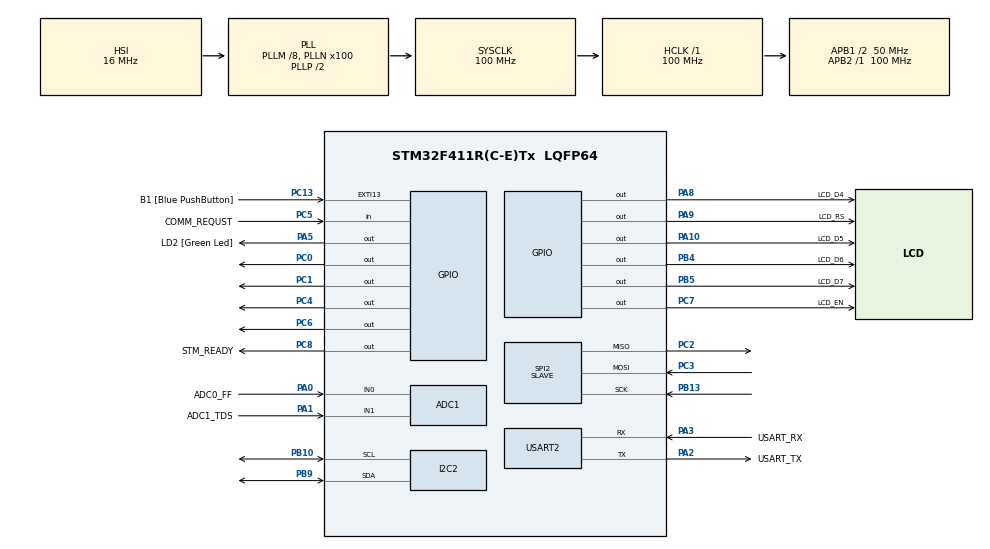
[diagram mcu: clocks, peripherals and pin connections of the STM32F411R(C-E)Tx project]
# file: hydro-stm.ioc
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ADC1.Channel-0\#ChannelRegularConversion=ADC_CHANNEL_0
ADC1.NbrOfConversionFlag=1
ADC1.Rank-0\#ChannelRegularConversion=1
ADC1.SamplingTime-0\#ChannelRegularConversion=ADC_SAMPLETIME_3CYCLES
ADC1.master=1
Mcu.Family=STM32F4
Mcu.Name=STM32F411R(C-E)Tx
Mcu.Package=LQFP64
NVIC.PriorityGroup=NVIC_PRIORITYGROUP_0
PA0-WKUP.GPIO_Label=ADC0_FF
PA0-WKUP.Signal=ADCx_IN0
PA1.GPIO_Label=ADC1_TDS
PA1.Signal=ADCx_IN1
PA10.GPIO_Label=LCD_D5
PA10.Signal=GPIO_Output
PA13.GPIO_Label=TMS
PA13.Mode=Serial_Wire
PA13.Signal=SYS_JTMS-SWDIO
PA14.GPIO_Label=TCK
PA14.Mode=Serial_Wire
PA14.Signal=SYS_JTCK-SWCLK
PA2.GPIO_Label=USART_TX
PA2.Mode=Asynchronous
PA2.Signal=USART2_TX
PA3.GPIO_Label=USART_RX
PA3.Mode=Asynchronous
PA3.Signal=USART2_RX
PA5.GPIO_Label=LD2 [Green Led]
PA5.Signal=GPIO_Output
PA8.GPIO_Label=LCD_D4
PA8.Signal=GPIO_Output
PA9.GPIO_Label=LCD_RS
PA9.Signal=GPIO_Output
PB10.Mode=I2C
PB10.Signal=I2C2_SCL
PB13.Mode=Full_Duplex_Slave
PB13.Signal=SPI2_SCK
PB3.GPIO_Label=SWO
PB3.Signal=SYS_JTDO-SWO
PB4.GPIO_Label=LCD_D6
PB4.Signal=GPIO_Output
PB5.GPIO_Label=LCD_D7
PB5.Signal=GPIO_Output
PB6.Signal=I2C1_SCL
PB9.Mode=I2C
PB9.Signal=I2C2_SDA
PC0.Signal=GPIO_Output
PC1.Signal=GPIO_Output
PC13-ANTI_TAMP.GPIO_Label=B1 [Blue PushButton]
PC13-ANTI_TAMP.GPIO_ModeDefaultEXTI=GPIO_MODE_IT_FALLING
PC13-ANTI_TAMP.Signal=GPXTI13
PC14-OSC32_IN.Mode=LSE-External-Oscillator
PC14-OSC32_IN.Signal=RCC_OSC32_IN
PC15-OSC32_OUT.Mode=LSE-External-Oscillator
PC15-OSC32_OUT.Signal=RCC_OSC32_OUT
PC2.Mode=Full_Duplex_Slave
PC2.Signal=SPI2_MISO
PC3.Mode=Full_Duplex_Slave
PC3.Signal=SPI2_MOSI
PC4.Signal=GPIO_Output
PC5.GPIO_Label=COMM_REQUST
PC5.Signal=GPIO_Input
PC6.Signal=GPIO_Output
PC7.GPIO_Label=LCD_EN
PC7.Signal=GPIO_Output
PC8.GPIO_Label=STM_READY
PC8.Signal=GPIO_Output
PH0\ -\ OSC_IN.Mode=HSE-External-Clock-Source
PH0\ -\ OSC_IN.Signal=RCC_OSC_IN
PH1\ -\ OSC_OUT.Mode=HSE-External-Clock-Source
PH1\ -\ OSC_OUT.Signal=RCC_OSC_OUT
ProjectManager.HeapSize=0x200
ProjectManager.StackSize=0x400
ProjectManager.TargetToolchain=STM32CubeIDE
RCC.48MHZClocksFreq_Value=50000000
RCC.AHBFreq_Value=100000000
RCC.APB1CLKDivider=RCC_HCLK_DIV2
RCC.APB1Freq_Value=50000000
RCC.APB1TimFreq_Value=100000000
RCC.APB2Freq_Value=100000000
RCC.APB2TimFreq_Value=100000000
RCC.CortexFreq_Value=100000000
RCC.FLatency-AdvancedSettings=FLASH_LATENCY_3
RCC.HCLKFreq_Value=100000000
RCC.HSE_VALUE=8000000
RCC.HSI_VALUE=16000000
RCC.PLLM=8
RCC.PLLN=100
RCC.SYSCLKFreq_VALUE=100000000
RCC.SYSCLKSource=RCC_SYSCLKSOURCE_PLLCLK
RCC.VCOOutputFreq_Value=200000000
SH.ADCx_IN0.0=ADC1_IN0,IN0
SH.ADCx_IN1.0=ADC1_IN1,IN1
SPI2.DataSize=SPI_DATASIZE_8BIT
SPI2.Direction=SPI_DIRECTION_2LINES
SPI2.Mode=SPI_MODE_SLAVE
SPI2.VirtualType=VM_SLAVE
USART2.VirtualMode=VM_ASYNC
board=NUCLEO-F411RE

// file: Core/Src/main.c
/* USER CODE BEGIN Header */
/**
  ******************************************************************************
  * @file           : main.c
  * @brief          : Main program body
  ******************************************************************************
  * @attention
  *
  * Copyright (c) 2025 STMicroelectronics.
  * All rights reserved.
  *
  * This software is licensed under terms that can be found in the LICENSE file
  * in the root directory of this software component.
  * If no LICENSE file comes with this software, it is provided AS-IS.
  *
  ******************************************************************************
  */
/* USER CODE END Header */
#include "main.h"

/* USER CODE BEGIN Includes */
#include "scheduler.h"
#include "sensor_manager.h"
#include "comm_manager.h"
#include "LCD.h"

//Sensors
#include "bmp180.h"
#include "mq135.h"
#include "tds.h"
#include "aht10.h"
/* USER CODE END Includes */

ADC_HandleTypeDef hadc1;

I2C_HandleTypeDef hi2c2;

SPI_HandleTypeDef hspi2;

UART_HandleTypeDef huart2;

/* USER CODE BEGIN PV */
uint8_t txBuff[23] = {0xAA, 0xBB, 0xCC, 0xDD, 0x11, 0x22};
uint8_t rxBuff[23] = {0};
const uint32_t SPI_TIMEOUT = 30;
/* USER CODE END PV */

void SystemClock_Config(void);
static void MX_GPIO_Init(void);
static void MX_USART2_UART_Init(void);
static void MX_I2C2_Init(void);
static void MX_SPI2_Init(void);
static void MX_ADC1_Init(void);

/* USER CODE BEGIN 0 */
//Sensor wiring
void BMP_Init(I2C_HandleTypeDef *i2c_loc){
  BMP180_Init(i2c_loc);
  BMP180_SetOversampling(BMP180_STANDARD);
  BMP180_UpdateCalibrationData();
}

void CheckForI2CDevices(void){			// !! Currently not being used
  printf("Scanning I2C bus...\r\n");
  for (uint8_t addr = 1; addr < 128; addr++) {
    if (HAL_I2C_IsDeviceReady(&hi2c2, addr << 1, 2, 10) == HAL_OK) {
      printf("  Found device at 0x%02X\r\n", addr);
    }
  }
}

void AllSensor_Init(void){
  BMP_Init(&hi2c2);
  MQ135_Init(&hadc1);
  TDS_Init(&hadc1);
  AHT10_Init(&hi2c2);
}

void InitializeSPI(void){
  Comm_PassRxBufferPtr(rxBuff);
  Comm_UpdateSPISnapshot();
  const SystemSnapshot_t *snap = &snapActive;
  memcpy(txBuff, snap, sizeof(SystemSnapshot_t));
  HAL_GPIO_WritePin(GPIOC, GPIO_PIN_8, GPIO_PIN_SET);
  HAL_SPI_TransmitReceive(&hspi2, txBuff, rxBuff, SPI_DATA_LENGTH, SPI_TIMEOUT);
  HAL_GPIO_WritePin(GPIOC, GPIO_PIN_8, GPIO_PIN_RESET);
  if(Comm_HandleSPIData() == 0){	// Probably CRC is not correct
	  HAL_SPI_DeInit(&hspi2);
	  HAL_SPI_Init(&hspi2);
  }
}
/* USER CODE END 0 */

int main(void)
{

  /* MCU Configuration--------------------------------------------------------*/

  /* Reset of all peripherals, Initializes the Flash interface and the Systick. */
  HAL_Init();

  /* Configure the system clock */
  SystemClock_Config();

  /* Initialize all configured peripherals */
  MX_GPIO_Init();
  MX_USART2_UART_Init();
  MX_I2C2_Init();
  MX_SPI2_Init();
  MX_ADC1_Init();
  /* USER CODE BEGIN 2 */
  Sensor_Init();
  AllSensor_Init();
  Scheduler_Init();
  LCD_Init();
  int lel = 2;
  if (HAL_I2C_IsDeviceReady(&hi2c2, 0x77<<1, 3, 100) != HAL_OK) {
      lel = 0;
  }
  /* USER CODE END 2 */

  /* Infinite loop */
  /* USER CODE BEGIN WHILE */
  while (1)
  {
	Scheduler_Run();

	lel++;
	if(HAL_GPIO_ReadPin(GPIOC, GPIO_PIN_13) == GPIO_PIN_RESET){
		HAL_GPIO_TogglePin(GPIOA, GPIO_PIN_5);
		HAL_Delay(300);
	}
    /* USER CODE END WHILE */

  }
}

void SystemClock_Config(void)
{
  RCC_OscInitTypeDef RCC_OscInitStruct = {0};
  RCC_ClkInitTypeDef RCC_ClkInitStruct = {0};

  /** Configure the main internal regulator output voltage
  */
  __HAL_RCC_PWR_CLK_ENABLE();
  __HAL_PWR_VOLTAGESCALING_CONFIG(PWR_REGULATOR_VOLTAGE_SCALE1);

  /** Initializes the RCC Oscillators according to the specified parameters
  * in the RCC_OscInitTypeDef structure.
  */
  RCC_OscInitStruct.OscillatorType = RCC_OSCILLATORTYPE_HSI;
  RCC_OscInitStruct.HSIState = RCC_HSI_ON;
  RCC_OscInitStruct.HSICalibrationValue = RCC_HSICALIBRATION_DEFAULT;
  RCC_OscInitStruct.PLL.PLLState = RCC_PLL_ON;
  RCC_OscInitStruct.PLL.PLLSource = RCC_PLLSOURCE_HSI;
  RCC_OscInitStruct.PLL.PLLM = 8;
  RCC_OscInitStruct.PLL.PLLN = 100;
  RCC_OscInitStruct.PLL.PLLP = RCC_PLLP_DIV2;
  RCC_OscInitStruct.PLL.PLLQ = 4;
  if (HAL_RCC_OscConfig(&RCC_OscInitStruct) != HAL_OK)
  {
    Error_Handler();
  }

  /** Initializes the CPU, AHB and APB buses clocks
  */
  RCC_ClkInitStruct.ClockType = RCC_CLOCKTYPE_HCLK|RCC_CLOCKTYPE_SYSCLK
                              |RCC_CLOCKTYPE_PCLK1|RCC_CLOCKTYPE_PCLK2;
  RCC_ClkInitStruct.SYSCLKSource = RCC_SYSCLKSOURCE_PLLCLK;
  RCC_ClkInitStruct.AHBCLKDivider = RCC_SYSCLK_DIV1;
  RCC_ClkInitStruct.APB1CLKDivider = RCC_HCLK_DIV2;
  RCC_ClkInitStruct.APB2CLKDivider = RCC_HCLK_DIV1;

  if (HAL_RCC_ClockConfig(&RCC_ClkInitStruct, FLASH_LATENCY_3) != HAL_OK)
  {
    Error_Handler();
  }
}

static void MX_ADC1_Init(void)
{

  ADC_ChannelConfTypeDef sConfig = {0};

  /** Configure the global features of the ADC (Clock, Resolution, Data Alignment and number of conversion)
  */
  hadc1.Instance = ADC1;
  hadc1.Init.ClockPrescaler = ADC_CLOCK_SYNC_PCLK_DIV4;
  hadc1.Init.Resolution = ADC_RESOLUTION_12B;
  hadc1.Init.ScanConvMode = DISABLE;
  hadc1.Init.ContinuousConvMode = DISABLE;
  hadc1.Init.DiscontinuousConvMode = DISABLE;
  hadc1.Init.ExternalTrigConvEdge = ADC_EXTERNALTRIGCONVEDGE_NONE;
  hadc1.Init.ExternalTrigConv = ADC_SOFTWARE_START;
  hadc1.Init.DataAlign = ADC_DATAALIGN_RIGHT;
  hadc1.Init.NbrOfConversion = 1;
  hadc1.Init.DMAContinuousRequests = DISABLE;
  hadc1.Init.EOCSelection = ADC_EOC_SINGLE_CONV;
  if (HAL_ADC_Init(&hadc1) != HAL_OK)
  {
    Error_Handler();
  }

  /** Configure for the selected ADC regular channel its corresponding rank in the sequencer and its sample time.
  */
  sConfig.Channel = ADC_CHANNEL_0;
  sConfig.Rank = 1;
  sConfig.SamplingTime = ADC_SAMPLETIME_3CYCLES;
  if (HAL_ADC_ConfigChannel(&hadc1, &sConfig) != HAL_OK)
  {
    Error_Handler();
  }

}

static void MX_I2C2_Init(void)
{

  hi2c2.Instance = I2C2;
  hi2c2.Init.ClockSpeed = 100000;
  hi2c2.Init.DutyCycle = I2C_DUTYCYCLE_2;
  hi2c2.Init.OwnAddress1 = 0;
  hi2c2.Init.AddressingMode = I2C_ADDRESSINGMODE_7BIT;
  hi2c2.Init.DualAddressMode = I2C_DUALADDRESS_DISABLE;
  hi2c2.Init.OwnAddress2 = 0;
  hi2c2.Init.GeneralCallMode = I2C_GENERALCALL_DISABLE;
  hi2c2.Init.NoStretchMode = I2C_NOSTRETCH_DISABLE;
  if (HAL_I2C_Init(&hi2c2) != HAL_OK)
  {
    Error_Handler();
  }

}

static void MX_SPI2_Init(void)
{

  /* SPI2 parameter configuration*/
  hspi2.Instance = SPI2;
  hspi2.Init.Mode = SPI_MODE_SLAVE;
  hspi2.Init.Direction = SPI_DIRECTION_2LINES;
  hspi2.Init.DataSize = SPI_DATASIZE_8BIT;
  hspi2.Init.CLKPolarity = SPI_POLARITY_LOW;
  hspi2.Init.CLKPhase = SPI_PHASE_1EDGE;
  hspi2.Init.NSS = SPI_NSS_SOFT;
  hspi2.Init.FirstBit = SPI_FIRSTBIT_MSB;
  hspi2.Init.TIMode = SPI_TIMODE_DISABLE;
  hspi2.Init.CRCCalculation = SPI_CRCCALCULATION_DISABLE;
  hspi2.Init.CRCPolynomial = 10;
  if (HAL_SPI_Init(&hspi2) != HAL_OK)
  {
    Error_Handler();
  }

}

static void MX_USART2_UART_Init(void)
{

  huart2.Instance = USART2;
  huart2.Init.BaudRate = 115200;
  huart2.Init.WordLength = UART_WORDLENGTH_8B;
  huart2.Init.StopBits = UART_STOPBITS_1;
  huart2.Init.Parity = UART_PARITY_NONE;
  huart2.Init.Mode = UART_MODE_TX_RX;
  huart2.Init.HwFlowCtl = UART_HWCONTROL_NONE;
  huart2.Init.OverSampling = UART_OVERSAMPLING_16;
  if (HAL_UART_Init(&huart2) != HAL_OK)
  {
    Error_Handler();
  }

}

static void MX_GPIO_Init(void)
{
  GPIO_InitTypeDef GPIO_InitStruct = {0};

  /* GPIO Ports Clock Enable */
  __HAL_RCC_GPIOC_CLK_ENABLE();
  __HAL_RCC_GPIOH_CLK_ENABLE();
  __HAL_RCC_GPIOA_CLK_ENABLE();
  __HAL_RCC_GPIOB_CLK_ENABLE();

  /*Configure GPIO pin Output Level */
  HAL_GPIO_WritePin(GPIOC, GPIO_PIN_0|GPIO_PIN_1|GPIO_PIN_4|GPIO_PIN_6
                          |LCD_EN_Pin|STM_READY_Pin, GPIO_PIN_RESET);

  /*Configure GPIO pin Output Level */
  HAL_GPIO_WritePin(GPIOA, LD2_Pin|LCD_D4_Pin|LCD_RS_Pin|LCD_D5_Pin, GPIO_PIN_RESET);

  /*Configure GPIO pin Output Level */
  HAL_GPIO_WritePin(GPIOB, LCD_D6_Pin|LCD_D7_Pin, GPIO_PIN_RESET);

  /*Configure GPIO pin : B1_Pin */
  GPIO_InitStruct.Pin = B1_Pin;
  GPIO_InitStruct.Mode = GPIO_MODE_IT_FALLING;
  GPIO_InitStruct.Pull = GPIO_NOPULL;
  HAL_GPIO_Init(B1_GPIO_Port, &GPIO_InitStruct);

  /*Configure GPIO pins : PC0 PC1 PC4 PC6
                           LCD_EN_Pin STM_READY_Pin */
  GPIO_InitStruct.Pin = GPIO_PIN_0|GPIO_PIN_1|GPIO_PIN_4|GPIO_PIN_6
                          |LCD_EN_Pin|STM_READY_Pin;
  GPIO_InitStruct.Mode = GPIO_MODE_OUTPUT_PP;
  GPIO_InitStruct.Pull = GPIO_NOPULL;
  GPIO_InitStruct.Speed = GPIO_SPEED_FREQ_LOW;
  HAL_GPIO_Init(GPIOC, &GPIO_InitStruct);

  /*Configure GPIO pins : LD2_Pin LCD_D4_Pin LCD_RS_Pin LCD_D5_Pin */
  GPIO_InitStruct.Pin = LD2_Pin|LCD_D4_Pin|LCD_RS_Pin|LCD_D5_Pin;
  GPIO_InitStruct.Mode = GPIO_MODE_OUTPUT_PP;
  GPIO_InitStruct.Pull = GPIO_NOPULL;
  GPIO_InitStruct.Speed = GPIO_SPEED_FREQ_LOW;
  HAL_GPIO_Init(GPIOA, &GPIO_InitStruct);

  /*Configure GPIO pin : COMM_REQUST_Pin */
  GPIO_InitStruct.Pin = COMM_REQUST_Pin;
  GPIO_InitStruct.Mode = GPIO_MODE_INPUT;
  GPIO_InitStruct.Pull = GPIO_NOPULL;
  HAL_GPIO_Init(COMM_REQUST_GPIO_Port, &GPIO_InitStruct);

  /*Configure GPIO pins : LCD_D6_Pin LCD_D7_Pin */
  GPIO_InitStruct.Pin = LCD_D6_Pin|LCD_D7_Pin;
  GPIO_InitStruct.Mode = GPIO_MODE_OUTPUT_PP;
  GPIO_InitStruct.Pull = GPIO_NOPULL;
  GPIO_InitStruct.Speed = GPIO_SPEED_FREQ_LOW;
  HAL_GPIO_Init(GPIOB, &GPIO_InitStruct);

  /*Configure GPIO pin : PB6 */
  GPIO_InitStruct.Pin = GPIO_PIN_6;
  GPIO_InitStruct.Mode = GPIO_MODE_AF_OD;
  GPIO_InitStruct.Pull = GPIO_NOPULL;
  GPIO_InitStruct.Speed = GPIO_SPEED_FREQ_VERY_HIGH;
  GPIO_InitStruct.Alternate = GPIO_AF4_I2C1;
  HAL_GPIO_Init(GPIOB, &GPIO_InitStruct);

}

void Error_Handler(void)
{
  __disable_irq();
  while (1)
  {
  }
}
